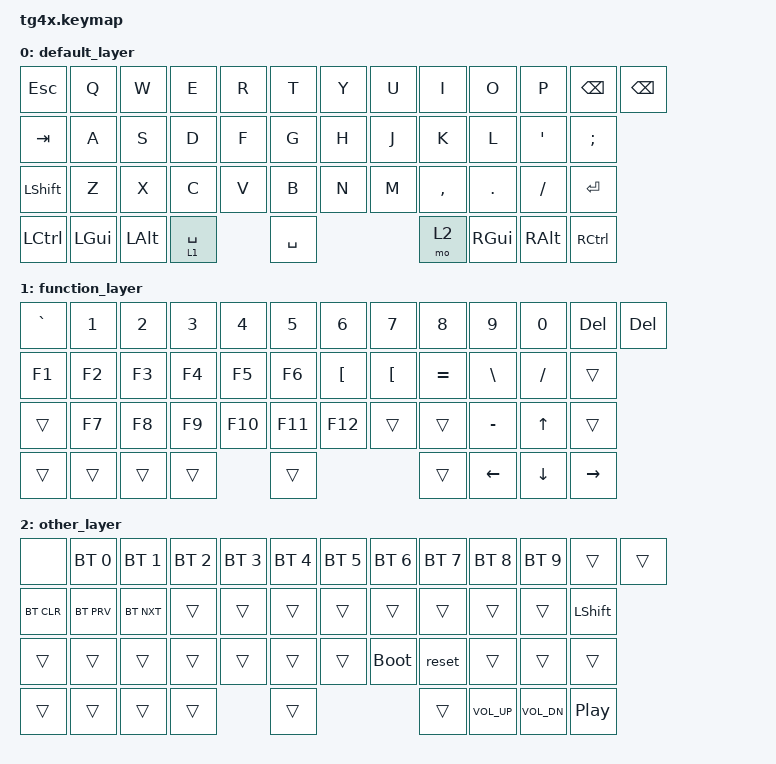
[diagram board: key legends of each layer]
/*
 * Copyright (c) 2020 The ZMK Contributors
 *
 * SPDX-License-Identifier: MIT
 */

#include <behaviors.dtsi>
#include <dt-bindings/zmk/keys.h>
#include <dt-bindings/zmk/bt.h>

#include <dt-bindings/zmk/matrix_transform.h>
/ {
	kscan0: kscan {
		compatible = "zmk,kscan-gpio-matrix";
		label = "KSCAN";
		
		diode-direction = "col2row";

		row-gpios
			= <&pro_micro_d 9 (GPIO_ACTIVE_HIGH | GPIO_PULL_DOWN)>
			, <&pro_micro_d 8 (GPIO_ACTIVE_HIGH | GPIO_PULL_DOWN)>
			, <&pro_micro_d 7 (GPIO_ACTIVE_HIGH | GPIO_PULL_DOWN)>
			, <&pro_micro_d 6 (GPIO_ACTIVE_HIGH | GPIO_PULL_DOWN)>
			, <&pro_micro_d 5 (GPIO_ACTIVE_HIGH | GPIO_PULL_DOWN)>
			, <&pro_micro_d 4 (GPIO_ACTIVE_HIGH | GPIO_PULL_DOWN)>
			, <&pro_micro_d 3 (GPIO_ACTIVE_HIGH | GPIO_PULL_DOWN)>
			, <&pro_micro_d 2 (GPIO_ACTIVE_HIGH | GPIO_PULL_DOWN)>
			;

		col-gpios
			= <&pro_micro_d 1 GPIO_ACTIVE_HIGH>
			, <&pro_micro_d 14 GPIO_ACTIVE_HIGH>
			, <&pro_micro_d 15 GPIO_ACTIVE_HIGH>
			, <&pro_micro_a 0 GPIO_ACTIVE_HIGH>
			, <&pro_micro_a 1 GPIO_ACTIVE_HIGH>
			, <&pro_micro_a 2 GPIO_ACTIVE_HIGH>
			, <&pro_micro_a 3 GPIO_ACTIVE_HIGH>
			;
	};

	default_transform: keymap_transform_0 {
		compatible = "zmk,matrix-transform";
		rows = <8>;
		columns = <7>;

		map = <
RC(0,0) RC(0,1) RC(0,2) RC(0,3) RC(0,4) RC(0,5) RC(0,6) RC(4,0) RC(4,1) RC(4,2) RC(4,3) RC(4,4) RC(4,5)
RC(1,0) RC(1,1) RC(1,2) RC(1,3) RC(1,4) RC(1,5) RC(1,6) RC(5,0) RC(5,1) RC(5,2) RC(5,3)         RC(5,4)
RC(2,0)         RC(2,1) RC(2,2) RC(2,3) RC(2,4) RC(2,5) RC(2,6) RC(6,0) RC(6,1) RC(6,2) RC(6,3) RC(6,4)
RC(3,0) RC(3,1) RC(3,2) RC(3,4)                                 RC(3,5) RC(7,1) RC(7,2) RC(7,3) RC(7,4)
		>;
	};

	chosen {
		zmk,kscan = &kscan0;
		zmk,matrix_transform = &default_transform;
	};
};

/ {
	behaviors {
		ht: hold_tap {
			compatible = "zmk,behavior-hold-tap";
			label = "Hold Tap";
			#binding-cells = <2>;
			tapping-term-ms = <200>;
			flavor = "tap-preferred";
			bindings = <&kp>, <&kp>;
		};	
	};

//
//_________________________________________________________________________________________________________
//|  ESC  |   Q   |   W   |   E   |   R   |   T   |   Y   |   U   |   I   |   O   |   P   |      BSPC     |
//|_______|_______|_______|_______|_______|_______|_______|_______|_______|_______|_______|_______________|
//|    TAB    |   A   |   S   |   D   |   F   |   G   |   H   |   J   |   K   |   L   |   '   |     ;     |
//|________ __|_______|_______|_______|_______|_______|_______|_______|_______|_______|_______|___________|
//|   LSHFT     |   Z   |   X   |   C   |   V   |   B   |   N   |   M   |   ,   |   .   |  / ?  |   RET   |
//|_____________|_______|_______|_______|_______|_______|_______|_______|_______|_______|_______|_________|
//|  LCTRL  |  LGUI   |  LALT   |     MO1/SPACE   |        SPACE        |  MO2    | RGUI  |  RALT | RCTRL |
//|_________|_________|_________|_________________|_____________________|_________|_______|_______|_______|
//
	keymap {
		compatible = "zmk,keymap";

		default_layer {
			bindings = <
&kp ESC    &kp Q     &kp W     &kp E        &kp R  &kp T  &kp Y  &kp U    &kp I      &kp O    &kp P      &kp BSPC  &kp BSPC
&kp TAB    &kp A     &kp S     &kp D        &kp F  &kp G  &kp H  &kp J    &kp K      &kp L    &kp APOS   &kp SEMI
&kp LSHFT  &kp Z     &kp X     &kp C        &kp V  &kp B  &kp N  &kp M    &kp COMMA  &kp DOT  &kp FSLH   &kp RET
&kp LCTRL  &kp LGUI  &kp LALT  &lt 1 SPACE         &kp SPACE              &mo 2      &kp RGUI &kp RALT   &kp RCTRL
			>;
		};


//
//_________________________________________________________________________________________________________
//| GRAVE |  1/!  |  2/@  |  3/#  |  4/$  |  5/%  |  6/^  |  7/&  |  8/*  |  9/(  |  0/)  |      DEL      |
//|_______|_______|_______|_______|_______|_______|_______|_______|_______|_______|_______|_______________|
//|   F1     |  F2   |  F3   |  F4   |  F5   |  F6   | LBKT  | LBKT  | EQUAL | BSLH  | FSLH  |    RET     |
//|__________|_______|_______|_______|_______|_______|_______|_______|_______|_______|_______|____________|
//|   LSHFT     |  F7   |  F8   |   F9  |  F10  |  F11  |  F12  |   M   |   ,   |   -   |   UP  |  RSHFT  |
//|_____________|_______|_______|_______|_______|_______|_______|_______|_______|_______|_______|_________|
//|  LCTRL  |  LGUI   |  LALT   |     MO1/SPACE   |        SPACE        |   MO2   | LEFT  | DOWN  | RIGHT |
//|_________|_________|_________|_________________|_____________________|_________|_______|_______|_______|
//
		function_layer {
			bindings = <
&kp GRAVE  &kp N1    &kp N2     &kp N3  &kp N4   &kp N5   &kp N6    &kp N7    &kp N8     &kp N9     &kp N0    &kp DEL  &kp DEL
&kp F1     &kp F2    &kp F3     &kp F4  &kp F5   &kp F6   &kp LBKT  &kp LBKT  &kp EQUAL  &kp BSLH   &kp FSLH  &trans
&trans     &kp F7    &kp F8     &kp F9  &kp F10  &kp F11  &kp F12   &trans    &trans     &kp MINUS  &kp UP    &trans
&trans     &trans    &trans     &trans           &trans                       &trans     &kp LEFT   &kp DOWN  &kp RIGHT
			>;
		};


//
//_________________________________________________________________________________________________________
//|  none | BT 0  | BT 1  | BT 2  | BT 3  | BT 4  |  F7   |  F8   |  F9   |  F10   |  F11   |     F12     |
//|_______|_______|_______|_______|_______|_______|_______|_______|_______|________|________|_____________|
//|   TAB    |BT_CLR |BT_PRV |BT_NXT |   F   |   G   |   H   |   J   |   K   |  L    |   '    |    RET    |
//|__________|_______|_______|_______|_______|_______|_______|_______|_______|_______|________|___________|
//|   LSHFT     |   Z   |   X   |   C   |   V   |   B   |   N   |   M   |   ,   | btldr | reset |  RSHFT  |
//|_____________|_______|_______|_______|_______|_______|_______|_______|_______|_______|_______|_________|
//|  LCTRL  |  LGUI   |  LALT   |     MO1/SPACE   |        SPACE        |   MO2   |VOL_UP |VOL_DN | K_PP  |
//|_________|_________|_________|_________________|_____________________|_________|_______|_______|_______|
//		
		other_layer {
			bindings = <
&none       &bt BT_SEL 0  &bt BT_SEL 1  &bt BT_SEL 2  &bt BT_SEL 3   &bt BT_SEL 4  &bt BT_SEL 5  &bt BT_SEL 6  &bt BT_SEL 7   &bt BT_SEL 8  &bt BT_SEL 9  &trans
&trans      &bt BT_CLR    &bt BT_PRV    &bt BT_NXT    &trans         &trans        &trans        &trans        &trans         &trans        &trans        &trans
&kp LSHFT   &trans        &trans        &trans        &trans         &trans        &trans        &trans        &bootloader    &reset        &trans        &trans
&trans      &trans        &trans        &trans                       &trans                      &trans        &trans         &kp C_VOL_UP  &kp C_VOL_DN  &kp C_PP
			>;  
		};

	};
};
//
